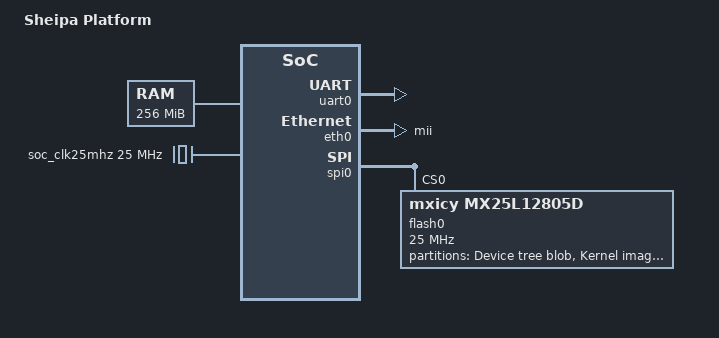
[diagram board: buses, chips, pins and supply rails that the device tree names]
/*
 * Realtek Semiconductor Corp.
 *
 * Device Tree Structure
 *
 * Tony Wu (tonywu@realtek.com)
 */

#include <dt-bindings/interrupt-controller/irq.h>

/ {
	model = "Sheipa Platform";
	compatible = "rtk,sheipa";

	memory@0 {
		device_type = "memory";
		reg = <0x0 0x10000000>;
	};

	clocks {
		soc_clk25mhz: oscillator {
			compatible = "fixed-clock";
			clock-output-names = "clk25mhz";
			clock-frequency = <25000000>;
			#clock-cells = <0>;
		};
	};

	ocp {
		compatible = "sheipa-bus", "simple-bus";
		#address-cells = <1>;
		#size-cells = <1>;
		ranges;

		ictl: ictl@1f000000 {
			compatible = "snps,dw-apb-ictl";
			reg = <0x1f000000 0x100>;
			interrupt-controller;
			#interrupt-cells = <1>;
			interrupt-parent = <&cpuintc>;
			interrupts = <2>;
		};

		gic: gic@1bdc0000 {
			compatible = "rtk,gic", "mti,gic";
			reg = <0x1bdc0000 0x20000>;
			interrupt-controller;
			#interrupt-cells = <3>;
			interrupt-parent = <&cpuintc>;
			interrupts = <2>;
		};

		uart0: dwapb@1fb03000 {
			compatible = "snps,dw-apb-uart";
			reg = <0x1fb03000 0x100>;
			reg-shift = <2>;
			reg-io-width = <1>;
			clock-frequency = <25000000>;
		};

		eth0: smc91cx@1fb04000 {
			compatible = "smsc,lan9118", "smsc,lan9115";
			reg = <0x1fb04000 0x10000>;
			phy-mode = "mii";
			reg-io-width = <4>;
			smsc,irq-active-high;
			smsc,irq-push-pull;
		};

		eth1: rtl8168@1b007000 {
			compatible = "realtek,sheipa-r8168", "realtek,r8168";
			reg = <0x1b007000 0x100>;
			mac-address = "44:77:39:3a:9b:15";
			status = "disabled";
		};

		spi0: spi@1fb09000 {
			compatible = "realtek,spi-rxi312";
			#address-cells = <1>;
			#size-cells = <0>;
			bus_num = <0>;
			reg = <0x1fb09000 0x200>,
				<0x14000000 0x1000000>;
			clocks = <&soc_clk25mhz>;
			spi-deactivate-delay = <0>;
			spi-max-frequency = <25000000>;
			spi-fifo-size = <64>;
			flash0: flash@0 {
				compatible = "mxicy,mx25l12805d", "mxic,m25p80",
					     "jedec,spi-nor";
				spi-max-frequency = <25000000>;
				reg = <0>;
				mode = <0>;
				spi-num-slaves = <0>;
				spi-fifo-size = <64>;
				spi-baudr-div = <1>;
				spi-rx-bus-width = <4>;
				spi-tx-bus-width = <4>;

				partitions {
					compatible = "fixed-partitions";
					#address-cells = <1>;
					#size-cells = <1>;
					partition@0 {
						label = "Device tree blob";
						reg = <0x40000 0xC0000>; /* 256K-1M */
						read-only;
					};
					partition@1 {
						label = "Kernel image";
						reg = <0x200000 0x600000>; /* 2-8M */
						read-only;
					};
					partition@2 {
						label = "Squashfs filesystem";
						reg = <0x800000 0x700000>; /* 8M-15M */
						read-only;
					};
					partition@3 {
						label = "jffs2 filesystem";
						reg = <0xF00000 0x100000>; /* 15M-16M */
					};
				};
			};
		};

		gmac: rtl8139gb@1b007000 {
			compatible = "realtek,8139gb";
			reg = <0x1b007000 0x400>;
			mac-address = "00:81:39:00:00:01";
			status = "disabled";
		};

		ohci: ohci@1a000200 {
			compatible = "generic-ohci";
			reg = <0x1a000200 0x200>;
			status = "disabled";
		};

		ehci: ehci@1a000000 {
			compatible = "generic-ehci";
			reg = <0x1a000000 0x200>;
			status = "disabled";
		};

		xhci: xhci@18000000 {
			compatible = "generic-xhci", "snps,dwc3";
			reg = <0x18000000 0x100000>;
			status = "disabled";
		};

		dwc2: dwc2@19000000 {
			compatible = "dwc2";
			reg = <0x19000000 0x100000>;
			status = "disabled";
		};

		hdmi0: hdmi@1fb05000 {
			compatible = "realtek,sheipa-hdmi";
			reg = <0x1fb05000 0x60>, <0x1fb0a000 0x300>;
			sheipa,hdmi-res-x = <720>;
			sheipa,hdmi-res-y = <480>;
			sheipa,hdmi-bpp = <32>;
			sheipa,hdmi-mode = <1>;
			status = "disabled";
		};

		rxi300: rxi300@1b008f00 {
			compatible = "realtek,rxi-300";
			reg = <0x1b008f00 0x700>;
			status = "disabled";
		};

		/* Only used in RLXVM */
		keyboard: kbd@1f422000 {
			compatible = "realtek,rlxvm_kbd";
			reg = <0x1f422000 0x200>;
			status = "disabled";
		};

		/* Only used in RLXVM */
		mouse: mouse@1f423000 {
			compatible = "realtek,rlxvm_mouse";
			reg = <0x1f423000 0x200>;
			status = "disabled";
		};
	};

	chosen {
		bootargs = "console=ttyS0,57600 init=/init";
		stdout-path = &uart0;
	};
};
